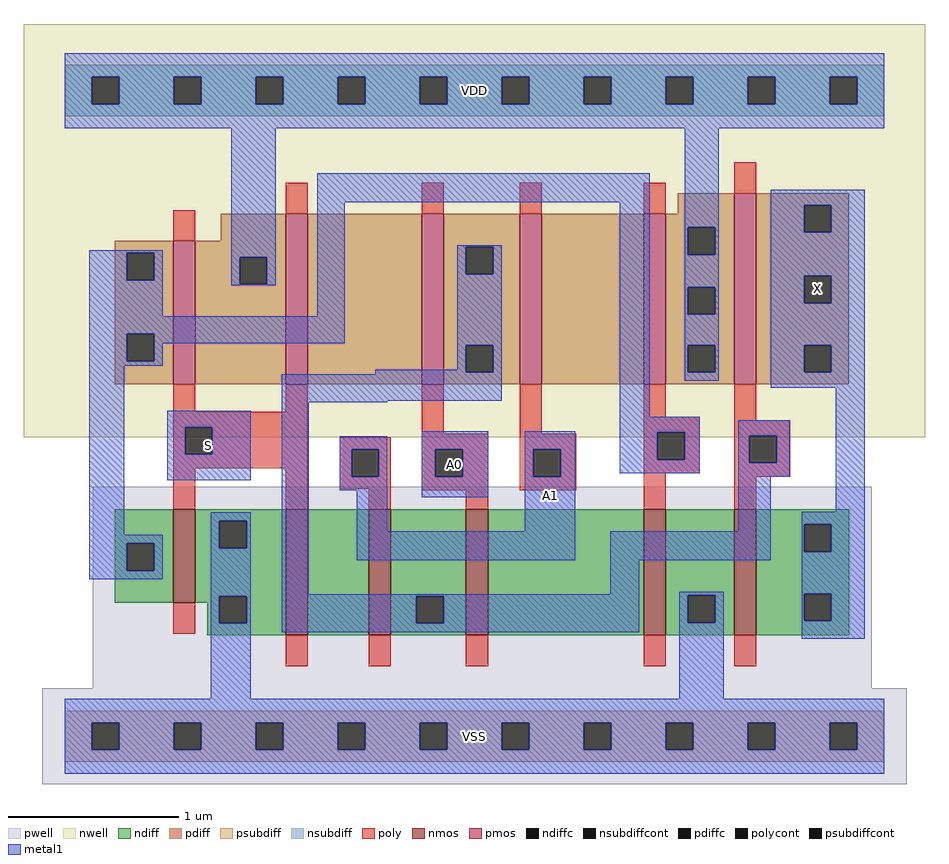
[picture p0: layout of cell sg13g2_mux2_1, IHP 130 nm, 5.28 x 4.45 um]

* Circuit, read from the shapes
.subckt sg13g2_mux2_1 A1 X S VDD VSS A0
XM1 VSS S n1 VSS sg13_lv_nmos w=0.55u l=0.13u
XM2 n2 S VSS VSS sg13_lv_nmos w=0.74u l=0.13u
XM3 n3 A1 n2 VSS sg13_lv_nmos w=0.74u l=0.13u
XM4 n4 A0 n3 VSS sg13_lv_nmos w=0.74u l=0.13u
XM5 VSS n1 n4 VSS sg13_lv_nmos w=0.74u l=0.13u
XM6 X n3 VSS VSS sg13_lv_nmos w=0.74u l=0.13u
XM7 VDD S n1 VDD sg13_lv_pmos w=0.84u l=0.13u
XM8 n5 S VDD VDD sg13_lv_pmos w=1u l=0.13u
XM9 n3 A0 n5 VDD sg13_lv_pmos w=1u l=0.13u
XM10 n6 A1 n3 VDD sg13_lv_pmos w=1u l=0.13u
XM11 VDD n1 n6 VDD sg13_lv_pmos w=1u l=0.13u
XM12 X n3 VDD VDD sg13_lv_pmos w=1.12u l=0.13u
.ends

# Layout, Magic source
magic
tech ihp-sg13g2
magscale 1 2
<< nwell >>
rect -48 350 1008 834
<< pwell >>
rect 33 56 945 292
rect -26 -56 986 56
<< nmos >>
rect 127 156 153 266
rect 259 118 285 266
rect 356 118 382 266
rect 470 118 496 266
rect 678 118 704 266
rect 784 118 810 266
<< pmos >>
rect 127 412 153 580
rect 259 412 285 612
rect 418 412 444 612
rect 533 412 559 612
rect 678 412 704 612
rect 784 412 810 636
<< ndiff >>
rect 59 226 127 266
rect 59 194 73 226
rect 105 194 127 226
rect 59 156 127 194
rect 153 252 259 266
rect 153 220 181 252
rect 213 220 259 252
rect 153 164 259 220
rect 153 156 181 164
rect 167 132 181 156
rect 213 132 259 164
rect 167 118 259 132
rect 285 118 356 266
rect 382 164 470 266
rect 382 132 412 164
rect 444 132 470 164
rect 382 118 470 132
rect 496 118 678 266
rect 704 165 784 266
rect 704 133 730 165
rect 762 133 784 165
rect 704 118 784 133
rect 810 248 919 266
rect 810 216 866 248
rect 898 216 919 248
rect 810 167 919 216
rect 810 135 866 167
rect 898 135 919 167
rect 810 118 919 135
<< pdiff >>
rect 718 612 784 636
rect 183 580 259 612
rect 59 566 127 580
rect 59 534 73 566
rect 105 534 127 566
rect 59 471 127 534
rect 59 439 73 471
rect 105 439 127 471
rect 59 412 127 439
rect 153 561 259 580
rect 153 529 205 561
rect 237 529 259 561
rect 153 412 259 529
rect 285 412 418 612
rect 444 573 533 612
rect 444 541 470 573
rect 502 541 533 573
rect 444 458 533 541
rect 444 426 470 458
rect 502 426 533 458
rect 444 412 533 426
rect 559 412 678 612
rect 704 596 784 612
rect 704 564 730 596
rect 762 564 784 596
rect 704 526 784 564
rect 704 494 730 526
rect 762 494 784 526
rect 704 458 784 494
rect 704 426 730 458
rect 762 426 784 458
rect 704 412 784 426
rect 810 622 918 636
rect 810 590 866 622
rect 898 590 918 622
rect 810 539 918 590
rect 810 507 866 539
rect 898 507 918 539
rect 810 458 918 507
rect 810 426 866 458
rect 898 426 918 458
rect 810 412 918 426
<< ndiffc >>
rect 73 194 105 226
rect 181 220 213 252
rect 181 132 213 164
rect 412 132 444 164
rect 730 133 762 165
rect 866 216 898 248
rect 866 135 898 167
<< pdiffc >>
rect 73 534 105 566
rect 73 439 105 471
rect 205 529 237 561
rect 470 541 502 573
rect 470 426 502 458
rect 730 564 762 596
rect 730 494 762 526
rect 730 426 762 458
rect 866 590 898 622
rect 866 507 898 539
rect 866 426 898 458
<< psubdiff >>
rect 0 16 960 30
rect 0 -16 32 16
rect 64 -16 128 16
rect 160 -16 224 16
rect 256 -16 320 16
rect 352 -16 416 16
rect 448 -16 512 16
rect 544 -16 608 16
rect 640 -16 704 16
rect 736 -16 800 16
rect 832 -16 896 16
rect 928 -16 960 16
rect 0 -30 960 -16
<< nsubdiff >>
rect 0 772 960 786
rect 0 740 32 772
rect 64 740 128 772
rect 160 740 224 772
rect 256 740 320 772
rect 352 740 416 772
rect 448 740 512 772
rect 544 740 608 772
rect 640 740 704 772
rect 736 740 800 772
rect 832 740 896 772
rect 928 740 960 772
rect 0 726 960 740
<< psubdiffcont >>
rect 32 -16 64 16
rect 128 -16 160 16
rect 224 -16 256 16
rect 320 -16 352 16
rect 416 -16 448 16
rect 512 -16 544 16
rect 608 -16 640 16
rect 704 -16 736 16
rect 800 -16 832 16
rect 896 -16 928 16
<< nsubdiffcont >>
rect 32 740 64 772
rect 128 740 160 772
rect 224 740 256 772
rect 320 740 352 772
rect 416 740 448 772
rect 512 740 544 772
rect 608 740 640 772
rect 704 740 736 772
rect 800 740 832 772
rect 896 740 928 772
<< poly >>
rect 127 580 153 616
rect 259 612 285 648
rect 418 612 444 648
rect 533 612 559 648
rect 678 612 704 648
rect 784 636 810 672
rect 127 380 153 412
rect 259 380 285 412
rect 127 362 285 380
rect 127 330 141 362
rect 173 330 285 362
rect 418 354 444 412
rect 533 354 559 412
rect 678 374 704 412
rect 678 356 744 374
rect 127 314 285 330
rect 127 266 153 314
rect 259 266 285 314
rect 322 336 382 350
rect 322 304 336 336
rect 368 304 382 336
rect 322 290 382 304
rect 356 266 382 290
rect 418 336 496 354
rect 418 304 434 336
rect 466 304 496 336
rect 418 288 496 304
rect 533 336 599 354
rect 533 304 549 336
rect 581 304 599 336
rect 533 288 599 304
rect 678 324 694 356
rect 726 324 744 356
rect 678 308 744 324
rect 784 370 810 412
rect 784 352 850 370
rect 784 320 802 352
rect 834 320 850 352
rect 470 266 496 288
rect 678 266 704 308
rect 784 304 850 320
rect 784 266 810 304
rect 127 120 153 156
rect 259 82 285 118
rect 356 82 382 118
rect 470 82 496 118
rect 678 82 704 118
rect 784 82 810 118
<< polycont >>
rect 141 330 173 362
rect 336 304 368 336
rect 434 304 466 336
rect 549 304 581 336
rect 694 324 726 356
rect 802 320 834 352
<< metal1 >>
rect 0 772 960 800
rect 0 740 32 772
rect 64 740 128 772
rect 160 740 224 772
rect 256 740 320 772
rect 352 740 416 772
rect 448 740 512 772
rect 544 740 608 772
rect 640 740 704 772
rect 736 740 800 772
rect 832 740 896 772
rect 928 740 960 772
rect 0 712 960 740
rect 29 566 115 569
rect 29 534 73 566
rect 105 534 115 566
rect 29 492 115 534
rect 195 561 247 712
rect 195 529 205 561
rect 237 529 247 561
rect 195 528 247 529
rect 296 625 685 659
rect 296 492 328 625
rect 29 471 328 492
rect 29 439 73 471
rect 105 460 328 471
rect 460 573 512 575
rect 460 541 470 573
rect 502 541 512 573
rect 105 439 115 460
rect 29 434 115 439
rect 460 458 512 541
rect 29 236 70 434
rect 460 429 470 458
rect 364 426 470 429
rect 502 426 512 458
rect 364 424 512 426
rect 254 393 512 424
rect 254 391 378 393
rect 120 362 218 381
rect 120 330 141 362
rect 173 330 218 362
rect 120 300 218 330
rect 171 252 218 262
rect 29 226 115 236
rect 29 194 73 226
rect 105 194 115 226
rect 29 184 115 194
rect 171 220 181 252
rect 213 220 218 252
rect 171 164 218 220
rect 171 132 181 164
rect 213 132 218 164
rect 171 44 218 132
rect 254 166 286 391
rect 650 374 685 625
rect 726 596 766 712
rect 726 564 730 596
rect 762 564 766 596
rect 726 526 766 564
rect 726 494 730 526
rect 762 494 766 526
rect 726 458 766 494
rect 726 426 730 458
rect 762 426 766 458
rect 726 416 766 426
rect 827 622 937 640
rect 827 590 866 622
rect 898 590 937 622
rect 827 539 937 590
rect 827 507 866 539
rect 898 507 937 539
rect 827 458 937 507
rect 827 426 866 458
rect 898 426 937 458
rect 827 408 937 426
rect 322 336 378 351
rect 322 304 336 336
rect 368 304 378 336
rect 322 288 378 304
rect 342 240 378 288
rect 418 336 496 357
rect 418 304 434 336
rect 466 304 496 336
rect 418 280 496 304
rect 539 336 598 357
rect 539 304 549 336
rect 581 304 598 336
rect 650 356 744 374
rect 650 324 694 356
rect 726 324 744 356
rect 650 308 744 324
rect 789 352 849 370
rect 789 320 802 352
rect 834 320 849 352
rect 539 240 598 304
rect 789 304 849 320
rect 789 240 827 304
rect 903 263 937 408
rect 342 206 598 240
rect 639 206 827 240
rect 863 248 937 263
rect 863 216 866 248
rect 898 216 937 248
rect 639 166 673 206
rect 254 164 673 166
rect 254 132 412 164
rect 444 132 673 164
rect 254 122 673 132
rect 720 165 772 169
rect 720 133 730 165
rect 762 133 772 165
rect 720 44 772 133
rect 863 167 937 216
rect 863 135 866 167
rect 898 135 937 167
rect 863 114 937 135
rect 0 16 960 44
rect 0 -16 32 16
rect 64 -16 128 16
rect 160 -16 224 16
rect 256 -16 320 16
rect 352 -16 416 16
rect 448 -16 512 16
rect 544 -16 608 16
rect 640 -16 704 16
rect 736 -16 800 16
rect 832 -16 896 16
rect 928 -16 960 16
rect 0 -44 960 -16
<< labels >>
flabel metal1 s 539 206 598 357 0 FreeSans 400 0 0 0 A1
port 2 nsew
flabel metal1 s 827 408 937 640 0 FreeSans 400 0 0 0 X
port 3 nsew
flabel metal1 s 120 300 218 381 0 FreeSans 400 0 0 0 S
port 4 nsew
flabel metal1 s 0 712 960 800 0 FreeSans 400 0 0 0 VDD
port 5 nsew
flabel metal1 s 0 -44 960 44 0 FreeSans 400 0 0 0 VSS
port 6 nsew
flabel metal1 s 418 280 496 357 0 FreeSans 400 0 0 0 A0
port 7 nsew
<< properties >>
string FIXED_BBOX 0 0 960 756
string GDS_END 178692
string GDS_FILE ../gds/controller.gds
string GDS_START 171680
<< end >>
